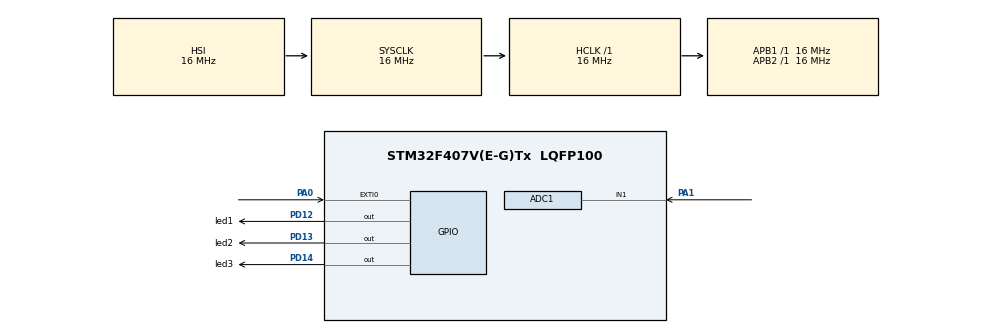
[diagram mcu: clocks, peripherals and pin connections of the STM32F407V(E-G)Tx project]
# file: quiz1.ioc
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ADC1.Channel-0\#ChannelRegularConversion=ADC_CHANNEL_1
ADC1.NbrOfConversionFlag=1
ADC1.Rank-0\#ChannelRegularConversion=1
ADC1.Resolution=ADC_RESOLUTION_10B
ADC1.SamplingTime-0\#ChannelRegularConversion=ADC_SAMPLETIME_3CYCLES
ADC1.master=1
Mcu.Family=STM32F4
Mcu.Name=STM32F407V(E-G)Tx
Mcu.Package=LQFP100
NVIC.ADC_IRQn=true\:0\:0\:false\:false\:true\:true
NVIC.EXTI0_IRQn=true\:0\:0\:false\:false\:true\:true
NVIC.PriorityGroup=NVIC_PRIORITYGROUP_4
PA0-WKUP.Signal=GPXTI0
PA1.Signal=ADCx_IN1
PD12.GPIO_Label=led1
PD12.Signal=GPIO_Output
PD13.GPIO_Label=led2
PD13.Signal=GPIO_Output
PD14.GPIO_Label=led3
PD14.Signal=GPIO_Output
ProjectManager.HeapSize=0x200
ProjectManager.StackSize=0x400
ProjectManager.TargetToolchain=MDK-ARM V5
RCC.AHBFreq_Value=16000000
RCC.APB1Freq_Value=16000000
RCC.APB2Freq_Value=16000000
RCC.CortexFreq_Value=16000000
RCC.HSE_VALUE=25000000
RCC.HSI_VALUE=16000000
RCC.LSE_VALUE=32768
RCC.SYSCLKFreq_VALUE=16000000
RCC.VCOOutputFreq_Value=192000000
SH.ADCx_IN1.0=ADC1_IN1,IN1
board=quiz1

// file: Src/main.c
/**
  ******************************************************************************
  * @file           : main.c
  * @brief          : Main program body
  ******************************************************************************
  ** This notice applies to any and all portions of this file
  * that are not between comment pairs USER CODE BEGIN and
  * USER CODE END. Other portions of this file, whether
  * inserted by the user or by software development tools
  * are owned by their respective copyright owners.
  *
  * COPYRIGHT(c) 2018 STMicroelectronics
  *
  * Redistribution and use in source and binary forms, with or without modification,
  * are permitted provided that the following conditions are met:
  *   1. Redistributions of source code must retain the above copyright notice,
  *      this list of conditions and the following disclaimer.
  *   2. Redistributions in binary form must reproduce the above copyright notice,
  *      this list of conditions and the following disclaimer in the documentation
  *      and/or other materials provided with the distribution.
  *   3. Neither the name of STMicroelectronics nor the names of its contributors
  *      may be used to endorse or promote products derived from this software
  *      without specific prior written permission.
  *
  * THIS SOFTWARE IS PROVIDED BY THE COPYRIGHT HOLDERS AND CONTRIBUTORS "AS IS"
  * AND ANY EXPRESS OR IMPLIED WARRANTIES, INCLUDING, BUT NOT LIMITED TO, THE
  * IMPLIED WARRANTIES OF MERCHANTABILITY AND FITNESS FOR A PARTICULAR PURPOSE ARE
  * DISCLAIMED. IN NO EVENT SHALL THE COPYRIGHT HOLDER OR CONTRIBUTORS BE LIABLE
  * FOR ANY DIRECT, INDIRECT, INCIDENTAL, SPECIAL, EXEMPLARY, OR CONSEQUENTIAL
  * DAMAGES (INCLUDING, BUT NOT LIMITED TO, PROCUREMENT OF SUBSTITUTE GOODS OR
  * SERVICES; LOSS OF USE, DATA, OR PROFITS; OR BUSINESS INTERRUPTION) HOWEVER
  * CAUSED AND ON ANY THEORY OF LIABILITY, WHETHER IN CONTRACT, STRICT LIABILITY,
  * OR TORT (INCLUDING NEGLIGENCE OR OTHERWISE) ARISING IN ANY WAY OUT OF THE USE
  * OF THIS SOFTWARE, EVEN IF ADVISED OF THE POSSIBILITY OF SUCH DAMAGE.
  *
  ******************************************************************************
  */
#include "main.h"
#include "stm32f4xx_hal.h"

ADC_HandleTypeDef hadc1;

/* USER CODE BEGIN PV */
/* Private variables ---------------------------------------------------------*/
int count=0;
int count2=0;
/* USER CODE END PV */

void SystemClock_Config(void);
static void MX_GPIO_Init(void);
static void MX_ADC1_Init(void);

/* USER CODE BEGIN PFP */
/* Private function prototypes -----------------------------------------------*/

/* USER CODE END PFP */
/* USER CODE BEGIN 0 */
void ledYak(){
if(count>3)count=0;
			switch (count){

				case 0:
				HAL_GPIO_WritePin(GPIOD,led1_Pin,GPIO_PIN_SET);
				HAL_GPIO_WritePin(GPIOD,led2_Pin|led3_Pin,GPIO_PIN_RESET);
				break;

				case 1:
				HAL_GPIO_WritePin(GPIOD,led2_Pin,GPIO_PIN_SET);
				HAL_GPIO_WritePin(GPIOD,led1_Pin|led3_Pin,GPIO_PIN_RESET);
				break;

				case 2:
				HAL_GPIO_WritePin(GPIOD,led3_Pin,GPIO_PIN_SET);
				HAL_GPIO_WritePin(GPIOD,led1_Pin|led2_Pin,GPIO_PIN_RESET);
				break;

				case 3:

				HAL_GPIO_WritePin(GPIOD,led2_Pin|led3_Pin|led1_Pin,GPIO_PIN_RESET);

				break;
							}
			count++;
}
void SolaledYak(){
		if(count2>2)count2=0;
			switch (count2){

				case 2:
				HAL_GPIO_WritePin(GPIOD,led1_Pin,GPIO_PIN_SET);
				HAL_GPIO_WritePin(GPIOD,led2_Pin|led3_Pin,GPIO_PIN_RESET);

				break;

				case 1:
				HAL_GPIO_WritePin(GPIOD,led2_Pin,GPIO_PIN_SET);
				HAL_GPIO_WritePin(GPIOD,led1_Pin|led3_Pin,GPIO_PIN_RESET);
				break;

				case 0:
				HAL_GPIO_WritePin(GPIOD,led3_Pin,GPIO_PIN_SET);
				HAL_GPIO_WritePin(GPIOD,led1_Pin|led2_Pin,GPIO_PIN_RESET);
				break;

			}
			count2++;

}
void EXTI0_IRQHandler(void)
{
  /* USER CODE BEGIN EXTI0_IRQn 0 */
while(HAL_GPIO_ReadPin(GPIOA, GPIO_PIN_0)){
SolaledYak();
	//HAL_Delay(500);
	for(int i=0;i<1000000;i++);
}
  /* USER CODE END EXTI0_IRQn 0 */
  HAL_GPIO_EXTI_IRQHandler(GPIO_PIN_0);
  /* USER CODE BEGIN EXTI0_IRQn 1 */

  /* USER CODE END EXTI0_IRQn 1 */
}

void ADC_IRQHandler(void)
{
  /* USER CODE BEGIN ADC_IRQn 0 */

  /* USER CODE END ADC_IRQn 0 */
  HAL_ADC_IRQHandler(&hadc1);
  /* USER CODE BEGIN ADC_IRQn 1 */

  /* USER CODE END ADC_IRQn 1 */
}

/* USER CODE END 0 */

int main(void)
{

  /* MCU Configuration----------------------------------------------------------*/

  /* Reset of all peripherals, Initializes the Flash interface and the Systick. */
  HAL_Init();

  /* Configure the system clock */
  SystemClock_Config();

  /* Initialize all configured peripherals */
  MX_GPIO_Init();
  MX_ADC1_Init();

  /* Infinite loop */
  while (1)
  {

  }

}

void SystemClock_Config(void)
{

  RCC_OscInitTypeDef RCC_OscInitStruct;
  RCC_ClkInitTypeDef RCC_ClkInitStruct;

    /**Configure the main internal regulator output voltage
    */
  __HAL_RCC_PWR_CLK_ENABLE();

  __HAL_PWR_VOLTAGESCALING_CONFIG(PWR_REGULATOR_VOLTAGE_SCALE1);

    /**Initializes the CPU, AHB and APB busses clocks
    */
  RCC_OscInitStruct.OscillatorType = RCC_OSCILLATORTYPE_HSI;
  RCC_OscInitStruct.HSIState = RCC_HSI_ON;
  RCC_OscInitStruct.HSICalibrationValue = 16;
  RCC_OscInitStruct.PLL.PLLState = RCC_PLL_NONE;
  if (HAL_RCC_OscConfig(&RCC_OscInitStruct) != HAL_OK)
  {
    _Error_Handler(__FILE__, __LINE__);
  }

    /**Initializes the CPU, AHB and APB busses clocks
    */
  RCC_ClkInitStruct.ClockType = RCC_CLOCKTYPE_HCLK|RCC_CLOCKTYPE_SYSCLK
                              |RCC_CLOCKTYPE_PCLK1|RCC_CLOCKTYPE_PCLK2;
  RCC_ClkInitStruct.SYSCLKSource = RCC_SYSCLKSOURCE_HSI;
  RCC_ClkInitStruct.AHBCLKDivider = RCC_SYSCLK_DIV1;
  RCC_ClkInitStruct.APB1CLKDivider = RCC_HCLK_DIV1;
  RCC_ClkInitStruct.APB2CLKDivider = RCC_HCLK_DIV1;

  if (HAL_RCC_ClockConfig(&RCC_ClkInitStruct, FLASH_LATENCY_0) != HAL_OK)
  {
    _Error_Handler(__FILE__, __LINE__);
  }

    /**Configure the Systick interrupt time
    */
  HAL_SYSTICK_Config(HAL_RCC_GetHCLKFreq()/1000);

    /**Configure the Systick
    */
  HAL_SYSTICK_CLKSourceConfig(SYSTICK_CLKSOURCE_HCLK);

  /* SysTick_IRQn interrupt configuration */
  HAL_NVIC_SetPriority(SysTick_IRQn, 0, 0);
}

/* ADC1 init function */
static void MX_ADC1_Init(void)
{

  ADC_ChannelConfTypeDef sConfig;

    /**Configure the global features of the ADC (Clock, Resolution, Data Alignment and number of conversion)
    */
  hadc1.Instance = ADC1;
  hadc1.Init.ClockPrescaler = ADC_CLOCK_SYNC_PCLK_DIV2;
  hadc1.Init.Resolution = ADC_RESOLUTION_10B;
  hadc1.Init.ScanConvMode = DISABLE;
  hadc1.Init.ContinuousConvMode = DISABLE;
  hadc1.Init.DiscontinuousConvMode = DISABLE;
  hadc1.Init.ExternalTrigConvEdge = ADC_EXTERNALTRIGCONVEDGE_NONE;
  hadc1.Init.ExternalTrigConv = ADC_SOFTWARE_START;
  hadc1.Init.DataAlign = ADC_DATAALIGN_RIGHT;
  hadc1.Init.NbrOfConversion = 1;
  hadc1.Init.DMAContinuousRequests = DISABLE;
  hadc1.Init.EOCSelection = ADC_EOC_SINGLE_CONV;
  if (HAL_ADC_Init(&hadc1) != HAL_OK)
  {
    _Error_Handler(__FILE__, __LINE__);
  }

    /**Configure for the selected ADC regular channel its corresponding rank in the sequencer and its sample time.
    */
  sConfig.Channel = ADC_CHANNEL_1;
  sConfig.Rank = 1;
  sConfig.SamplingTime = ADC_SAMPLETIME_3CYCLES;
  if (HAL_ADC_ConfigChannel(&hadc1, &sConfig) != HAL_OK)
  {
    _Error_Handler(__FILE__, __LINE__);
  }

}

/** Configure pins as
        * Analog
        * Input
        * Output
        * EVENT_OUT
        * EXTI
*/
static void MX_GPIO_Init(void)
{

  GPIO_InitTypeDef GPIO_InitStruct;

  /* GPIO Ports Clock Enable */
  __HAL_RCC_GPIOA_CLK_ENABLE();
  __HAL_RCC_GPIOD_CLK_ENABLE();

  /*Configure GPIO pin Output Level */
  HAL_GPIO_WritePin(GPIOD, led1_Pin|led2_Pin|led3_Pin, GPIO_PIN_RESET);

  /*Configure GPIO pin : PA0 */
  GPIO_InitStruct.Pin = GPIO_PIN_0;
  GPIO_InitStruct.Mode = GPIO_MODE_IT_RISING;
  GPIO_InitStruct.Pull = GPIO_NOPULL;
  HAL_GPIO_Init(GPIOA, &GPIO_InitStruct);

  /*Configure GPIO pins : led1_Pin led2_Pin led3_Pin */
  GPIO_InitStruct.Pin = led1_Pin|led2_Pin|led3_Pin;
  GPIO_InitStruct.Mode = GPIO_MODE_OUTPUT_PP;
  GPIO_InitStruct.Pull = GPIO_NOPULL;
  GPIO_InitStruct.Speed = GPIO_SPEED_FREQ_LOW;
  HAL_GPIO_Init(GPIOD, &GPIO_InitStruct);

  /* EXTI interrupt init*/
  HAL_NVIC_SetPriority(EXTI0_IRQn, 0, 0);
  HAL_NVIC_EnableIRQ(EXTI0_IRQn);

}

void _Error_Handler(char *file, int line)
{
  while(1)
  {
  }
}

/************************ (C) COPYRIGHT STMicroelectronics *****END OF FILE****/
